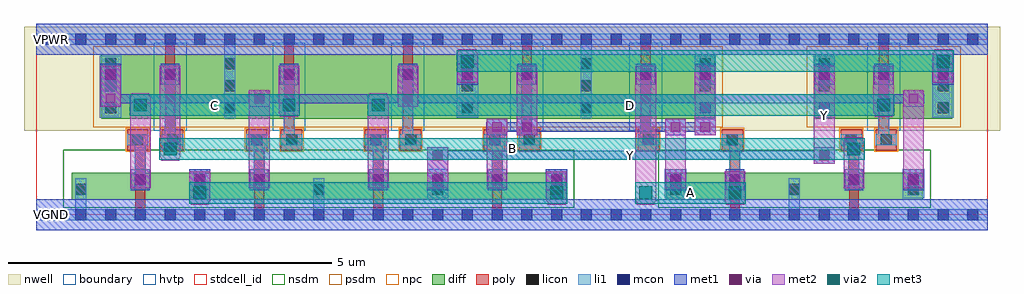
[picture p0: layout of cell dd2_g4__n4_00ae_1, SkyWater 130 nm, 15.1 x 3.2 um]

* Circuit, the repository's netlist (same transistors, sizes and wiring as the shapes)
* Generated reference circuit; dimensions in micrometers.
.subckt dd2_g4__n4_00ae_1 A B C D VGND VNB VPB VPWR Y
XM0 _net1 A VGND VNB sky130_fd_pr__nfet_01v8 w=0.420 l=0.150
XM1 _net1 A VPWR VPB sky130_fd_pr__pfet_01v8_hvt w=1.000 l=0.150
XM2 _net2 B VGND VNB sky130_fd_pr__nfet_01v8 w=0.420 l=0.150
XM3 _net2 B VPWR VPB sky130_fd_pr__pfet_01v8_hvt w=1.000 l=0.150
XM4 Y D VGND VNB sky130_fd_pr__nfet_01v8 w=0.420 l=0.150
XM5 Y _net1 _net3 VNB sky130_fd_pr__nfet_01v8 w=0.420 l=0.150
XM6 _net3 _net2 VGND VNB sky130_fd_pr__nfet_01v8 w=0.420 l=0.150
XM7 _net3 C VGND VNB sky130_fd_pr__nfet_01v8 w=0.420 l=0.150
XM8 Y D _net4 VPB sky130_fd_pr__pfet_01v8_hvt w=1.000 l=0.150
XM9 _net4 _net1 VPWR VPB sky130_fd_pr__pfet_01v8_hvt w=1.000 l=0.150
XM10 _net4 _net2 _net5 VPB sky130_fd_pr__pfet_01v8_hvt w=1.000 l=0.150
XM11 _net5 C VPWR VPB sky130_fd_pr__pfet_01v8_hvt w=1.000 l=0.150
.ends dd2_g4__n4_00ae_1

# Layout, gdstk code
import gdstk
lib = gdstk.Library(unit=1e-6, precision=1e-09)
def R(c, l, rs):  # rectangles x0, y0, x1, y1
    for r in rs: c.add(gdstk.rectangle(r[:2], r[2:], *l))
def A(c, l, x, y, w, h, nx, ny, dx, dy):  # array of equal rectangles
    R(c, l, [(x+i*dx, y+j*dy, x+i*dx+w, y+j*dy+h) for i in range(nx) for j in range(ny)])
nwell = (64, 20)
diff = (65, 20)
poly = (66, 20)
licon = (66, 44)
li1 = (67, 20)
mcon = (67, 44)
met1 = (68, 20)
via = (68, 44)
met2 = (69, 20)
via2 = (69, 44)
met3 = (70, 20)
hvtp = (78, 44)
stdcell_id = (81, 4)
nsdm = (93, 44)
psdm = (94, 20)
npc = (95, 20)
boundary = (235, 4)

dd2_g4__n4_00ae_1 = lib.new_cell('dd2_g4__n4_00ae_1')
R(dd2_g4__n4_00ae_1, nwell, [(-0.19,1.305,14.91,2.91)])
A(dd2_g4__n4_00ae_1, diff, 2.99, 1.485, 1.84, 1, 3, 1, 1.84, 0)
R(dd2_g4__n4_00ae_1, diff, [(0.545,0.235,2.53,0.655), (2.53,0.235,4.37,0.655), (4.37,0.235,6.21,0.655), (6.21,0.235,8.195,0.655), (9.745,0.235,11.73,0.655), (11.73,0.235,13.715,0.655), (1.005,1.485,2.99,2.485), (8.51,1.485,10.495,2.485), (12.045,1.485,14.175,2.485)])
A(dd2_g4__n4_00ae_1, poly, 1.535, 0.105, 0.15, 1.22, 4, 1, 1.84, 0)
A(dd2_g4__n4_00ae_1, poly, 1.995, 0.995, 0.15, 1.62, 5, 1, 1.84, 0)
R(dd2_g4__n4_00ae_1, poly, [(10.735,0.105,10.885,1.325), (12.575,0.105,12.725,1.325), (1.405,0.995,1.735,1.325), (1.945,0.995,2.275,1.325), (3.245,0.995,3.575,1.325), (3.785,0.995,4.115,1.325), (5.085,0.995,5.415,1.325), (5.625,0.995,5.955,1.325), (6.925,0.995,7.255,1.325), (7.465,0.995,7.795,1.325), (9.305,0.995,9.635,1.325), (10.605,0.995,10.935,1.325), (12.445,0.995,12.775,1.325), (12.985,0.995,13.315,1.325), (13.035,0.995,13.185,2.615)])
A(dd2_g4__n4_00ae_1, licon, 0.605, 0.315, 0.17, 0.17, 8, 1, 1.84, 0)
A(dd2_g4__n4_00ae_1, licon, 1.065, 1.575, 0.17, 0.17, 1, 3, 0, 0.34)
A(dd2_g4__n4_00ae_1, licon, 2.905, 1.575, 0.17, 0.17, 1, 3, 0, 0.34)
A(dd2_g4__n4_00ae_1, licon, 6.585, 1.575, 0.17, 0.17, 5, 3, 1.84, 0.34)
R(dd2_g4__n4_00ae_1, licon, [(1.485,1.075,1.655,1.245), (2.025,1.075,2.195,1.245), (3.325,1.075,3.495,1.245), (3.865,1.075,4.035,1.245), (5.165,1.075,5.335,1.245), (5.705,1.075,5.875,1.245), (7.005,1.075,7.175,1.245), (7.545,1.075,7.715,1.245), (9.385,1.075,9.555,1.245), (10.685,1.075,10.855,1.245), (12.525,1.075,12.695,1.245), (13.065,1.075,13.235,1.245)])
A(dd2_g4__n4_00ae_1, li1, 6.045, 0.255, 0.33, 0.38, 3, 1, 1.84, 0)
A(dd2_g4__n4_00ae_1, li1, 1.525, 0.38, 0.17, 0.33, 4, 1, 1.84, 0)
A(dd2_g4__n4_00ae_1, li1, 6.045, 0.38, 0.33, 0.33, 3, 1, 1.84, 0)
A(dd2_g4__n4_00ae_1, li1, 1.525, 0.46, 0.17, 0.785, 4, 1, 1.84, 0)
A(dd2_g4__n4_00ae_1, li1, 1.985, 1.075, 0.17, 1.185, 5, 1, 1.84, 0)
A(dd2_g4__n4_00ae_1, li1, 10.185, 1.505, 0.33, 0.96, 3, 1, 1.84, 0)
A(dd2_g4__n4_00ae_1, li1, 1.985, 2.01, 0.17, 0.33, 5, 1, 1.84, 0)
A(dd2_g4__n4_00ae_1, li1, 10.185, 2.01, 0.33, 0.33, 3, 1, 1.84, 0)
R(dd2_g4__n4_00ae_1, li1, [(0,-0.085,14.72,0.085), (0.605,-0.085,0.775,0.565), (4.285,-0.085,4.455,0.565), (11.645,-0.085,11.815,0.565), (2.365,0.255,2.695,0.635), (13.405,0.255,13.735,0.635), (2.365,0.38,2.695,0.71), (10.725,0.38,10.895,0.71), (12.565,0.38,12.735,0.71), (13.405,0.38,13.735,0.71), (10.725,0.46,10.895,1.245), (12.565,0.46,12.735,1.245), (1.405,1.075,1.735,1.245), (1.945,1.075,2.275,1.245), (3.245,1.075,3.575,1.245), (3.785,1.075,4.115,1.245), (5.085,1.075,5.415,1.245), (5.625,1.075,5.955,1.245), (6.925,1.075,7.255,1.245), (7.465,1.075,7.795,1.245), (9.305,1.075,9.635,1.245), (10.605,1.075,10.935,1.245), (12.445,1.075,12.775,1.245), (12.985,1.075,13.315,1.245), (13.025,1.075,13.195,2.26), (2.905,1.495,3.075,2.805), (8.425,1.495,8.595,2.805), (0.985,1.505,1.315,2.465), (6.505,1.505,6.835,2.465), (0.985,2.01,1.315,2.34), (6.505,2.01,6.835,2.34), (13.025,2.01,13.195,2.34), (0,2.635,14.72,2.805)])
A(dd2_g4__n4_00ae_1, mcon, 0.145, -0.085, 0.17, 0.17, 32, 2, 0.46, 2.72)
A(dd2_g4__n4_00ae_1, mcon, 1.525, 0.46, 0.17, 0.17, 3, 1, 0.92, 0)
A(dd2_g4__n4_00ae_1, mcon, 5.205, 0.46, 0.17, 0.17, 4, 1, 0.92, 0)
A(dd2_g4__n4_00ae_1, mcon, 1.985, 2.09, 0.17, 0.17, 3, 1, 1.84, 0)
A(dd2_g4__n4_00ae_1, mcon, 12.105, 2.09, 0.17, 0.17, 3, 1, 0.92, 0)
R(dd2_g4__n4_00ae_1, mcon, [(9.805,0.46,9.975,0.63), (10.725,0.46,10.895,0.63), (12.565,0.46,12.735,0.63), (13.485,0.46,13.655,0.63), (1.065,2.09,1.235,2.26), (6.585,2.09,6.755,2.26), (7.505,2.09,7.675,2.26), (9.345,2.09,9.515,2.26), (10.265,2.09,10.435,2.26)])
A(dd2_g4__n4_00ae_1, met1, 1.465, 0.38, 0.29, 0.33, 4, 1, 1.84, 0)
A(dd2_g4__n4_00ae_1, met1, 6.045, 0.38, 0.33, 0.33, 3, 1, 1.84, 0)
A(dd2_g4__n4_00ae_1, met1, 0.99, 1.67, 0.32, 0.26, 3, 1, 2.3, 0)
A(dd2_g4__n4_00ae_1, met1, 1.925, 2.01, 0.29, 0.33, 5, 1, 1.84, 0)
A(dd2_g4__n4_00ae_1, met1, 10.185, 2.01, 0.33, 0.33, 3, 1, 1.84, 0)
R(dd2_g4__n4_00ae_1, met1, [(0,-0.24,14.72,0.24), (2.365,0.38,2.695,0.71), (10.665,0.38,10.955,0.71), (12.505,0.38,12.795,0.71), (13.405,0.38,13.735,0.71), (6.05,0.545,6.37,0.92), (6.05,0.79,6.37,1.05), (12.03,0.79,12.35,1.05), (6.045,0.85,12.355,0.99), (6.97,1.23,7.29,1.49), (7.43,1.23,7.75,1.49), (9.73,1.23,10.05,1.49), (10.19,1.23,10.51,1.49), (6.965,1.29,10.515,1.43), (13.41,1.67,13.73,1.93), (0.985,1.73,13.735,1.87), (0.99,1.8,1.31,2.175), (5.595,1.8,5.905,2.175), (0.985,2.01,1.315,2.34), (6.505,2.01,6.835,2.34), (12.965,2.01,13.255,2.34), (0,2.48,14.72,2.96)])
A(dd2_g4__n4_00ae_1, via, 1.535, 0.47, 0.15, 0.15, 3, 1, 0.92, 0)
A(dd2_g4__n4_00ae_1, via, 5.215, 0.47, 0.15, 0.15, 4, 1, 0.92, 0)
A(dd2_g4__n4_00ae_1, via, 1.075, 1.725, 0.15, 0.15, 3, 1, 2.3, 0)
A(dd2_g4__n4_00ae_1, via, 1.995, 2.1, 0.15, 0.15, 3, 1, 1.84, 0)
A(dd2_g4__n4_00ae_1, via, 12.115, 2.1, 0.15, 0.15, 3, 1, 0.92, 0)
R(dd2_g4__n4_00ae_1, via, [(9.815,0.47,9.965,0.62), (10.735,0.47,10.885,0.62), (12.575,0.47,12.725,0.62), (13.495,0.47,13.645,0.62), (6.135,0.845,6.285,0.995), (12.115,0.845,12.265,0.995), (7.055,1.285,7.205,1.435), (7.515,1.285,7.665,1.435), (9.815,1.285,9.965,1.435), (10.275,1.285,10.425,1.435), (13.495,1.725,13.645,1.875), (1.075,2.1,1.225,2.25), (6.595,2.1,6.745,2.25), (7.515,2.1,7.665,2.25), (9.355,2.1,9.505,2.25), (10.275,2.1,10.425,2.25)])
A(dd2_g4__n4_00ae_1, met2, 7.91, 0.155, 0.28, 0.37, 3, 1, 1.38, 0)
A(dd2_g4__n4_00ae_1, met2, 0.99, 1.67, 0.32, 0.26, 3, 1, 2.3, 0)
R(dd2_g4__n4_00ae_1, met2, [(2.39,0.155,2.67,0.525), (2.37,0.21,2.69,0.675), (7.89,0.21,8.21,0.675), (9.27,0.21,9.59,2.305), (10.65,0.21,10.97,0.675), (1.45,0.415,1.77,1.83), (3.29,0.415,3.61,1.93), (5.13,0.415,5.45,1.83), (6.05,0.415,6.37,1.05), (6.97,0.415,7.29,1.49), (9.73,0.415,10.05,1.49), (12.49,0.415,12.81,1.15), (13.41,0.415,13.73,1.93), (6.05,0.79,6.37,1.05), (12.03,0.79,12.35,2.305), (12.03,0.79,12.35,1.05), (1.93,0.835,2.21,1.205), (12.51,0.835,12.79,1.205), (1.91,0.89,2.23,2.305), (6.97,1.23,7.29,1.49), (7.43,1.23,7.75,1.49), (7.43,1.23,7.75,2.305), (9.73,1.23,10.05,1.49), (10.19,1.23,10.51,1.49), (10.19,1.23,10.51,2.305), (1.47,1.515,1.75,1.885), (3.77,1.515,4.05,1.885), (5.15,1.515,5.43,1.885), (12.97,1.515,13.25,1.885), (3.75,1.57,4.07,2.305), (12.95,1.57,13.27,2.305), (0.99,1.67,1.31,2.305), (5.59,1.67,5.91,2.305), (13.41,1.67,13.73,1.93), (6.51,2.045,6.83,2.51), (13.87,2.045,14.19,2.51), (6.53,2.195,6.81,2.565), (13.89,2.195,14.17,2.565)])
A(dd2_g4__n4_00ae_1, via2, 7.95, 0.24, 0.2, 0.2, 3, 1, 1.38, 0)
R(dd2_g4__n4_00ae_1, via2, [(2.43,0.24,2.63,0.44), (1.97,0.92,2.17,1.12), (12.55,0.92,12.75,1.12), (1.51,1.6,1.71,1.8), (3.81,1.6,4.01,1.8), (5.19,1.6,5.39,1.8), (13.01,1.6,13.21,1.8), (6.57,2.28,6.77,2.48), (13.93,2.28,14.13,2.48)])
A(dd2_g4__n4_00ae_1, met3, 7.885, 0.175, 0.33, 0.33, 3, 1, 1.38, 0)
R(dd2_g4__n4_00ae_1, met3, [(2.365,0.175,8.215,0.505), (2.365,0.175,2.695,0.505), (9.265,0.175,10.975,0.505), (1.905,0.855,12.815,1.185), (1.905,0.855,2.235,1.185), (12.485,0.855,12.815,1.185), (1.445,1.535,4.075,1.865), (1.445,1.535,1.775,1.865), (3.745,1.535,4.075,1.865), (5.125,1.535,13.275,1.865), (5.125,1.535,5.455,1.865), (12.945,1.535,13.275,1.865), (6.505,2.215,14.195,2.545), (6.505,2.215,6.835,2.545), (13.865,2.215,14.195,2.545)])
A(dd2_g4__n4_00ae_1, hvtp, 1.815, 1.305, 0.51, 1.36, 5, 1, 1.84, 0)
R(dd2_g4__n4_00ae_1, hvtp, [(12.855,1.305,13.365,2.665)])
R(dd2_g4__n4_00ae_1, stdcell_id, [(0,0,14.72,2.72)])
R(dd2_g4__n4_00ae_1, nsdm, [(0.42,0.11,8.32,1.01), (9.62,0.11,13.84,1.01)])
R(dd2_g4__n4_00ae_1, psdm, [(0.88,1.36,10.62,2.61), (11.92,1.36,14.3,2.61)])
R(dd2_g4__n4_00ae_1, npc, [(1.385,0.975,1.755,1.345), (1.925,0.975,2.295,1.345), (3.225,0.975,3.595,1.345), (3.765,0.975,4.135,1.345), (5.065,0.975,5.435,1.345), (5.605,0.975,5.975,1.345), (6.905,0.975,7.275,1.345), (7.445,0.975,7.815,1.345), (9.285,0.975,9.655,1.345), (10.585,0.975,10.955,1.345), (12.425,0.975,12.795,1.345), (12.965,0.975,13.335,1.345)])
R(dd2_g4__n4_00ae_1, boundary, [(0,0,14.72,2.72)])
dd2_g4__n4_00ae_1.add(gdstk.Label('VGND', (0.23,0), layer=68, texttype=5))
dd2_g4__n4_00ae_1.add(gdstk.Label('VPWR', (0.23,2.72), layer=68, texttype=5))
dd2_g4__n4_00ae_1.add(gdstk.Label('Y', (9.2,0.92), layer=68, texttype=5))
dd2_g4__n4_00ae_1.add(gdstk.Label('Y', (12.19,1.545), layer=69, texttype=5))
dd2_g4__n4_00ae_1.add(gdstk.Label('VPB', (0.23,2.72), layer=64, texttype=5))
dd2_g4__n4_00ae_1.add(gdstk.Label('VNB', (0.23,0), layer=64, texttype=59))
dd2_g4__n4_00ae_1.add(gdstk.Label('A', (10.12,0.34), layer=70, texttype=5))
dd2_g4__n4_00ae_1.add(gdstk.Label('B', (7.36,1.02), layer=70, texttype=5))
dd2_g4__n4_00ae_1.add(gdstk.Label('C', (2.76,1.7), layer=70, texttype=5))
dd2_g4__n4_00ae_1.add(gdstk.Label('D', (9.2,1.7), layer=70, texttype=5))

lib.write_gds('dd2_g4__n4_00ae_1.gds')
